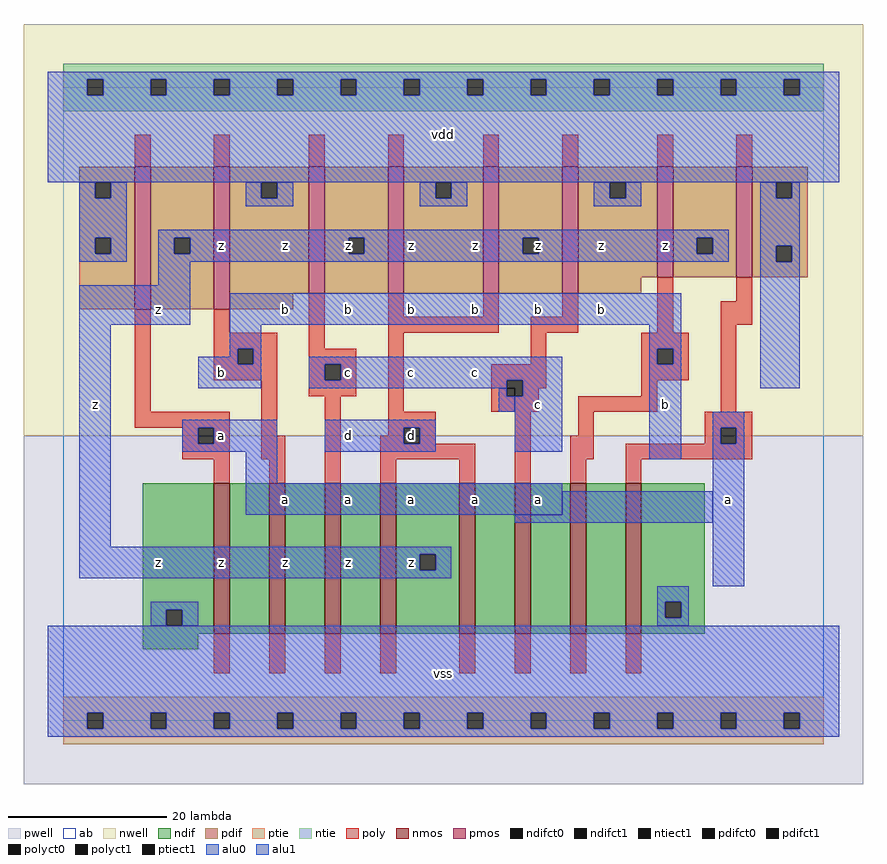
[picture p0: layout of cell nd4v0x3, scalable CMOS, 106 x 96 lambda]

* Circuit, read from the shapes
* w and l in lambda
.subckt nd4v0x3 a b c d vdd vss z
M1 n1 a vss vss nfet w=19 l=2
M2 n2 b n1 vss nfet w=19 l=2
M3 n3 c n2 vss nfet w=19 l=2
M4 z d n3 vss nfet w=19 l=2
M5 n4 d z vss nfet w=19 l=2
M6 n5 c n4 vss nfet w=19 l=2
M7 n6 b n5 vss nfet w=19 l=2
M8 vss a n6 vss nfet w=19 l=2
M9 z a vdd vdd pfet w=18 l=2
M10 vdd b z vdd pfet w=18 l=2
M11 z c vdd vdd pfet w=16 l=2 m=2
M12 vdd d z vdd pfet w=16 l=2 m=2
M13 z b vdd vdd pfet w=14 l=2
M14 vdd a z vdd pfet w=14 l=2
.ends

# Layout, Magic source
magic
tech scmos
<< ab >>
rect 0 0 96 80
<< nwell >>
rect -5 36 101 88
<< pwell >>
rect -5 -8 101 36
<< poly >>
rect 9 70 11 74
rect 19 70 21 74
rect 31 70 33 74
rect 41 70 43 74
rect 53 70 55 74
rect 63 70 65 74
rect 75 70 77 74
rect 85 70 87 74
rect 9 39 11 52
rect 19 49 21 52
rect 19 47 27 49
rect 19 45 22 47
rect 24 45 27 47
rect 19 43 27 45
rect 9 37 21 39
rect 15 35 17 37
rect 19 35 21 37
rect 15 33 21 35
rect 25 36 27 43
rect 31 47 33 54
rect 41 51 43 54
rect 53 51 55 54
rect 63 51 65 54
rect 41 49 55 51
rect 59 49 65 51
rect 75 49 77 56
rect 85 53 87 56
rect 83 50 87 53
rect 31 45 37 47
rect 31 43 33 45
rect 35 43 37 45
rect 31 41 37 43
rect 25 33 28 36
rect 19 30 21 33
rect 26 30 28 33
rect 33 30 35 41
rect 41 39 43 49
rect 59 45 61 49
rect 54 43 61 45
rect 54 41 56 43
rect 58 42 61 43
rect 73 47 79 49
rect 73 45 75 47
rect 77 45 79 47
rect 73 43 79 45
rect 58 41 60 42
rect 73 41 75 43
rect 54 39 60 41
rect 65 39 75 41
rect 83 39 85 50
rect 41 37 47 39
rect 41 36 43 37
rect 40 35 43 36
rect 45 35 47 37
rect 40 33 52 35
rect 40 30 42 33
rect 50 30 52 33
rect 57 30 59 39
rect 65 36 67 39
rect 64 33 67 36
rect 81 37 87 39
rect 81 35 83 37
rect 85 35 87 37
rect 71 33 87 35
rect 64 30 66 33
rect 71 30 73 33
rect 19 6 21 11
rect 26 6 28 11
rect 33 6 35 11
rect 40 6 42 11
rect 50 6 52 11
rect 57 6 59 11
rect 64 6 66 11
rect 71 6 73 11
<< ndif >>
rect 10 14 19 30
rect 10 12 13 14
rect 15 12 19 14
rect 10 11 19 12
rect 21 11 26 30
rect 28 11 33 30
rect 35 11 40 30
rect 42 21 50 30
rect 42 19 45 21
rect 47 19 50 21
rect 42 11 50 19
rect 52 11 57 30
rect 59 11 64 30
rect 66 11 71 30
rect 73 15 81 30
rect 73 13 76 15
rect 78 13 81 15
rect 73 11 81 13
rect 10 9 17 11
<< pdif >>
rect 2 68 9 70
rect 2 66 4 68
rect 6 66 9 68
rect 2 61 9 66
rect 2 59 4 61
rect 6 59 9 61
rect 2 52 9 59
rect 11 61 19 70
rect 11 59 14 61
rect 16 59 19 61
rect 11 52 19 59
rect 21 68 31 70
rect 21 66 25 68
rect 27 66 31 68
rect 21 54 31 66
rect 33 61 41 70
rect 33 59 36 61
rect 38 59 41 61
rect 33 54 41 59
rect 43 68 53 70
rect 43 66 47 68
rect 49 66 53 68
rect 43 54 53 66
rect 55 61 63 70
rect 55 59 58 61
rect 60 59 63 61
rect 55 54 63 59
rect 65 68 75 70
rect 65 66 69 68
rect 71 66 75 68
rect 65 56 75 66
rect 77 61 85 70
rect 77 59 80 61
rect 82 59 85 61
rect 77 56 85 59
rect 87 68 94 70
rect 87 66 90 68
rect 92 66 94 68
rect 87 60 94 66
rect 87 58 90 60
rect 92 58 94 60
rect 87 56 94 58
rect 65 54 73 56
rect 21 52 29 54
<< alu1 >>
rect -2 81 98 82
rect -2 79 3 81
rect 5 79 11 81
rect 13 79 19 81
rect 21 79 27 81
rect 29 79 35 81
rect 37 79 43 81
rect 45 79 51 81
rect 53 79 59 81
rect 61 79 67 81
rect 69 79 75 81
rect 77 79 83 81
rect 85 79 91 81
rect 93 79 98 81
rect -2 68 98 79
rect 12 61 84 62
rect 12 59 14 61
rect 16 59 36 61
rect 38 59 58 61
rect 60 59 80 61
rect 82 59 84 61
rect 12 58 84 59
rect 12 55 16 58
rect 2 50 16 55
rect 21 50 78 54
rect 2 22 6 50
rect 21 47 25 50
rect 21 46 22 47
rect 17 45 22 46
rect 24 45 25 47
rect 74 47 78 50
rect 17 42 25 45
rect 31 45 63 46
rect 31 43 33 45
rect 35 43 63 45
rect 31 42 56 43
rect 58 41 63 43
rect 15 37 27 38
rect 15 35 17 37
rect 19 35 27 37
rect 15 34 27 35
rect 33 37 47 38
rect 33 35 43 37
rect 45 35 47 37
rect 33 34 47 35
rect 57 34 63 41
rect 74 45 75 47
rect 77 45 78 47
rect 23 30 27 34
rect 74 33 78 45
rect 82 37 86 39
rect 82 35 83 37
rect 85 35 86 37
rect 23 26 63 30
rect 2 21 49 22
rect 2 19 45 21
rect 47 19 49 21
rect 2 18 49 19
rect 82 17 86 35
rect -2 1 98 12
rect -2 -1 3 1
rect 5 -1 11 1
rect 13 -1 19 1
rect 21 -1 27 1
rect 29 -1 35 1
rect 37 -1 43 1
rect 45 -1 51 1
rect 53 -1 59 1
rect 61 -1 67 1
rect 69 -1 75 1
rect 77 -1 83 1
rect 85 -1 91 1
rect 93 -1 98 1
rect -2 -2 98 -1
<< ptie >>
rect 0 1 96 3
rect 0 -1 3 1
rect 5 -1 11 1
rect 13 -1 19 1
rect 21 -1 27 1
rect 29 -1 35 1
rect 37 -1 43 1
rect 45 -1 51 1
rect 53 -1 59 1
rect 61 -1 67 1
rect 69 -1 75 1
rect 77 -1 83 1
rect 85 -1 91 1
rect 93 -1 96 1
rect 0 -3 96 -1
<< ntie >>
rect 0 81 96 83
rect 0 79 3 81
rect 5 79 11 81
rect 13 79 19 81
rect 21 79 27 81
rect 29 79 35 81
rect 37 79 43 81
rect 45 79 51 81
rect 53 79 59 81
rect 61 79 67 81
rect 69 79 75 81
rect 77 79 83 81
rect 85 79 91 81
rect 93 79 96 81
rect 0 77 96 79
<< nmos >>
rect 19 11 21 30
rect 26 11 28 30
rect 33 11 35 30
rect 40 11 42 30
rect 50 11 52 30
rect 57 11 59 30
rect 64 11 66 30
rect 71 11 73 30
<< pmos >>
rect 9 52 11 70
rect 19 52 21 70
rect 31 54 33 70
rect 41 54 43 70
rect 53 54 55 70
rect 63 54 65 70
rect 75 56 77 70
rect 85 56 87 70
<< polyct0 >>
rect 56 41 57 42
<< polyct1 >>
rect 22 45 24 47
rect 17 35 19 37
rect 33 43 35 45
rect 56 42 58 43
rect 75 45 77 47
rect 57 41 58 42
rect 43 35 45 37
rect 83 35 85 37
<< ndifct0 >>
rect 13 12 15 14
rect 76 13 78 15
<< ndifct1 >>
rect 45 19 47 21
<< ntiect1 >>
rect 3 79 5 81
rect 11 79 13 81
rect 19 79 21 81
rect 27 79 29 81
rect 35 79 37 81
rect 43 79 45 81
rect 51 79 53 81
rect 59 79 61 81
rect 67 79 69 81
rect 75 79 77 81
rect 83 79 85 81
rect 91 79 93 81
<< ptiect1 >>
rect 3 -1 5 1
rect 11 -1 13 1
rect 19 -1 21 1
rect 27 -1 29 1
rect 35 -1 37 1
rect 43 -1 45 1
rect 51 -1 53 1
rect 59 -1 61 1
rect 67 -1 69 1
rect 75 -1 77 1
rect 83 -1 85 1
rect 91 -1 93 1
<< pdifct0 >>
rect 4 66 6 68
rect 4 59 6 61
rect 25 66 27 68
rect 47 66 49 68
rect 69 66 71 68
rect 90 66 92 68
rect 90 58 92 60
<< pdifct1 >>
rect 14 59 16 61
rect 36 59 38 61
rect 58 59 60 61
rect 80 59 82 61
<< alu0 >>
rect 2 66 4 68
rect 6 66 8 68
rect 2 61 8 66
rect 23 66 25 68
rect 27 66 29 68
rect 23 65 29 66
rect 45 66 47 68
rect 49 66 51 68
rect 45 65 51 66
rect 67 66 69 68
rect 71 66 73 68
rect 67 65 73 66
rect 88 66 90 68
rect 92 66 93 68
rect 2 59 4 61
rect 6 59 8 61
rect 2 58 8 59
rect 88 60 93 66
rect 88 58 90 60
rect 92 58 93 60
rect 55 41 56 42
rect 55 39 57 41
rect 88 42 93 58
rect 63 26 82 29
rect 57 25 82 26
rect 75 15 79 17
rect 11 14 17 15
rect 11 12 13 14
rect 15 12 17 14
rect 75 13 76 15
rect 78 13 79 15
rect 75 12 79 13
<< labels >>
rlabel alu1 12 20 12 20 6 z
rlabel alu1 4 40 4 40 6 z
rlabel alu1 12 52 12 52 6 z
rlabel alu1 20 20 20 20 6 z
rlabel alu1 28 20 28 20 6 z
rlabel alu1 28 28 28 28 6 a
rlabel alu1 20 36 20 36 6 a
rlabel alu1 20 44 20 44 6 b
rlabel alu1 28 52 28 52 6 b
rlabel alu1 20 60 20 60 6 z
rlabel alu1 28 60 28 60 6 z
rlabel alu1 48 6 48 6 6 vss
rlabel alu1 36 20 36 20 6 z
rlabel alu1 36 28 36 28 6 a
rlabel alu1 44 20 44 20 6 z
rlabel alu1 44 28 44 28 6 a
rlabel alu1 52 28 52 28 6 a
rlabel alu1 36 36 36 36 6 d
rlabel alu1 36 44 36 44 6 c
rlabel polyct1 44 36 44 36 6 d
rlabel alu1 44 44 44 44 6 c
rlabel alu1 52 44 52 44 6 c
rlabel alu1 44 52 44 52 6 b
rlabel alu1 52 52 52 52 6 b
rlabel alu1 36 52 36 52 6 b
rlabel alu1 36 60 36 60 6 z
rlabel alu1 44 60 44 60 6 z
rlabel alu1 52 60 52 60 6 z
rlabel alu1 48 74 48 74 6 vdd
rlabel alu1 60 28 60 28 6 a
rlabel alu1 60 40 60 40 6 c
rlabel alu1 76 40 76 40 6 b
rlabel alu1 68 52 68 52 6 b
rlabel alu1 60 52 60 52 6 b
rlabel alu1 60 60 60 60 6 z
rlabel alu1 68 60 68 60 6 z
rlabel alu1 76 60 76 60 6 z
rlabel alu1 84 28 84 28 6 a
<< end >>
